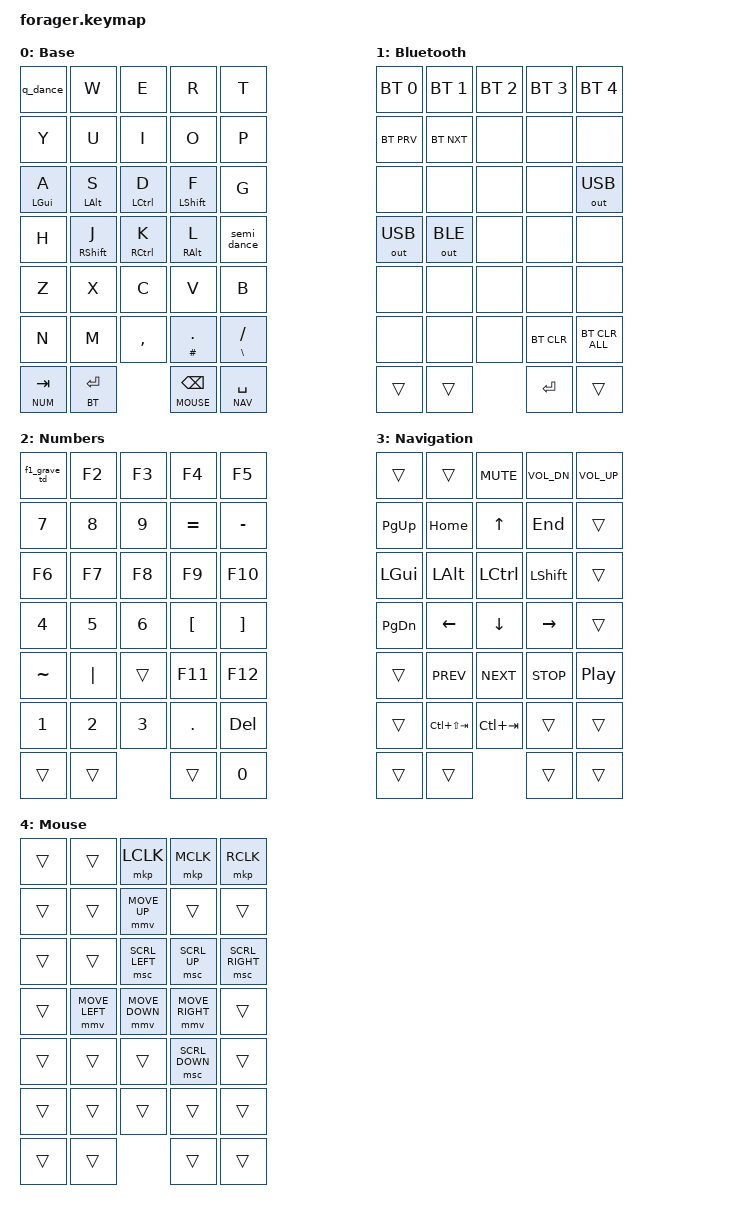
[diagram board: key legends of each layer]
#include <behaviors.dtsi>
#include <dt-bindings/zmk/keys.h>
#include <dt-bindings/zmk/bt.h>
#include <dt-bindings/zmk/outputs.h>
#include <dt-bindings/zmk/pointing.h>

#define BASE  0
#define BT    1
#define NUM   2
#define NAV   3
#define MOUSE 4

#define TAP_TERM_MS 175

/ {
    macros {
        qq: type_two_qs {
            compatible = "zmk,behavior-macro";
            #binding-cells = <0>;
            wait-ms = <20>;
            tap-ms = <20>;
            bindings = <&macro_tap &kp Q &kp Q>;
        };
    };

    behaviors {
        lhm: left_homerow_mods {
            compatible = "zmk,behavior-hold-tap";
            #binding-cells = <2>;
            flavor = "balanced";
            tapping-term-ms = <TAP_TERM_MS>;
            quick-tap-ms = <175>;
            require-prior-idle-ms = <150>;
            bindings = <&kp>, <&kp>;
            hold-trigger-key-positions =
                <5 6 7 8 9 15 16 17 18 19
                 25 26 27 28 29 30 31 32 33>;
            hold-trigger-on-release;
        };

        rhm: right_homerow_mods {
            compatible = "zmk,behavior-hold-tap";
            #binding-cells = <2>;
            flavor = "balanced";
            tapping-term-ms = <TAP_TERM_MS>;
            quick-tap-ms = <175>;
            require-prior-idle-ms = <150>;
            bindings = <&kp>, <&kp>;
            hold-trigger-key-positions =
                <0 1 2 3 4 10 11 12 13 14
                 20 21 22 23 24 30 31 32 33>;
            hold-trigger-on-release;
        };

        // Backspace thumb behavior:
        // tap = BSPC, hold = momentary MOUSE, tap-then-hold = held BSPC via quick-tap-ms.
        bsp_mouse: backspace_mouse_hold_tap {
            compatible = "zmk,behavior-hold-tap";
            #binding-cells = <2>;
            flavor = "tap-preferred";
            tapping-term-ms = <TAP_TERM_MS>;
            quick-tap-ms = <175>;
            bindings = <&mo>, <&kp>;
        };

        // Generic hold-tap helper for punctuation slots.
        // Param1 = hold keycode, Param2 = tap keycode.
        kth: key_tap_hold {
            compatible = "zmk,behavior-hold-tap";
            #binding-cells = <2>;
            flavor = "tap-preferred";
            tapping-term-ms = <TAP_TERM_MS>;
            quick-tap-ms = <175>;
            bindings = <&kp>, <&kp>;
        };

        // Hold-tap helper used inside tap dances.
        dance_ht: dance_hold_tap {
            compatible = "zmk,behavior-hold-tap";
            #binding-cells = <2>;
            flavor = "tap-preferred";
            tapping-term-ms = <TAP_TERM_MS>;
            quick-tap-ms = <0>;
            bindings = <&kp>, <&kp>;
        };

        // NUM row1 col1:
        // single tap -> F1
        // double tap -> GRAVE
        f1_grave_td: f1_grave_tap_dance {
            compatible = "zmk,behavior-tap-dance";
            #binding-cells = <0>;
            tapping-term-ms = <TAP_TERM_MS>;
            bindings = <&kp F1>, <&kp GRAVE>;
        };

        // Base Q dance internal second press:
        // tap -> qq
        // hold -> ESC (passed at call site)
        q_double: q_double_hold_tap {
            compatible = "zmk,behavior-hold-tap";
            #binding-cells = <2>;
            flavor = "tap-preferred";
            tapping-term-ms = <TAP_TERM_MS>;
            quick-tap-ms = <0>;
            bindings = <&kp>, <&qq>;
        };

        // Base Q:
        // single tap -> Q
        // double tap -> qq
        // tap then hold second press -> ESC
        q_dance: q_tap_dance {
            compatible = "zmk,behavior-tap-dance";
            #binding-cells = <0>;
            tapping-term-ms = <TAP_TERM_MS>;
            bindings = <&kp Q>, <&q_double ESC 0>;
        };

        // Base semicolon:
        // single tap -> SEMI
        // hold -> RGUI
        // double tap -> SQT
        semi_dance: semicolon_tap_dance {
            compatible = "zmk,behavior-tap-dance";
            #binding-cells = <0>;
            tapping-term-ms = <TAP_TERM_MS>;
            bindings = <&dance_ht RGUI SEMI>, <&kp SQT>;
        };
    };

    keymap {
        compatible = "zmk,keymap";

        base {
            display-name = "Base";
            bindings = <
                &q_dance      &kp W         &kp E         &kp R         &kp T
                &kp Y         &kp U         &kp I         &kp O         &kp P

                &lhm LGUI A   &lhm LALT S   &lhm LCTRL D  &lhm LSHFT F  &kp G
                &kp H         &rhm RSHFT J  &rhm RCTRL K  &rhm RALT L   &semi_dance

                &kp Z         &kp X         &kp C         &kp V         &kp B
                &kp N         &kp M         &kp COMMA     &kth HASH DOT &kth BSLH FSLH

                &lt NUM TAB   &lt BT ENTER   &bsp_mouse MOUSE BSPC &lt NAV SPACE
            >;
        };

        bt {
            display-name = "Bluetooth";
            bindings = <
                &bt BT_SEL 0  &bt BT_SEL 1  &bt BT_SEL 2  &bt BT_SEL 3  &bt BT_SEL 4
                &bt BT_PRV    &bt BT_NXT    &none         &none         &none

                &none         &none         &none         &none         &out OUT_USB
                &out OUT_USB  &out OUT_BLE  &none         &none         &none

                &none         &none         &none         &none         &none
                &none         &none         &none         &bt BT_CLR    &bt BT_CLR_ALL

                &trans        &trans        &kp ENTER     &trans
            >;
        };

        numbers {
            display-name = "Numbers";
            bindings = <
                &f1_grave_td  &kp F2        &kp F3        &kp F4        &kp F5
                &kp N7        &kp N8        &kp N9        &kp EQUAL     &kp MINUS

                &kp F6        &kp F7        &kp F8        &kp F9        &kp F10
                &kp N4        &kp N5        &kp N6        &kp LBKT      &kp RBKT

                &kp TILDE     &kp PIPE      &trans        &kp F11       &kp F12
                &kp N1        &kp N2        &kp N3        &kp DOT       &kp DELETE

                &trans        &trans        &trans        &kp N0
            >;
        };

        navigation {
            display-name = "Navigation";
            bindings = <
                &trans        &trans        &kp C_MUTE    &kp C_VOL_DN  &kp C_VOL_UP
                &kp PG_UP     &kp HOME      &kp UP        &kp END       &trans

                &kp LGUI      &kp LALT      &kp LCTRL     &kp LSHFT     &trans
                &kp PG_DN     &kp LEFT      &kp DOWN      &kp RIGHT     &trans

                &trans        &kp C_PREV    &kp C_NEXT    &kp C_STOP    &kp C_PP
                &trans        &kp LC(LS(TAB)) &kp LC(TAB)  &trans        &trans

                &trans        &trans        &trans        &trans
            >;
        };

        mouse {
            display-name = "Mouse";
            bindings = <
                &trans         &trans          &mkp LCLK       &mkp MCLK        &mkp RCLK
                &trans         &trans          &mmv MOVE_UP    &trans           &trans

                &trans         &trans          &msc SCRL_LEFT  &msc SCRL_UP     &msc SCRL_RIGHT
                &trans         &mmv MOVE_LEFT  &mmv MOVE_DOWN  &mmv MOVE_RIGHT  &trans

                &trans         &trans          &trans          &msc SCRL_DOWN   &trans
                &trans         &trans          &trans          &trans           &trans

                &trans         &trans          &trans          &trans
            >;
        };
    };
};

&lt {
    tapping-term-ms = <TAP_TERM_MS>;
};
